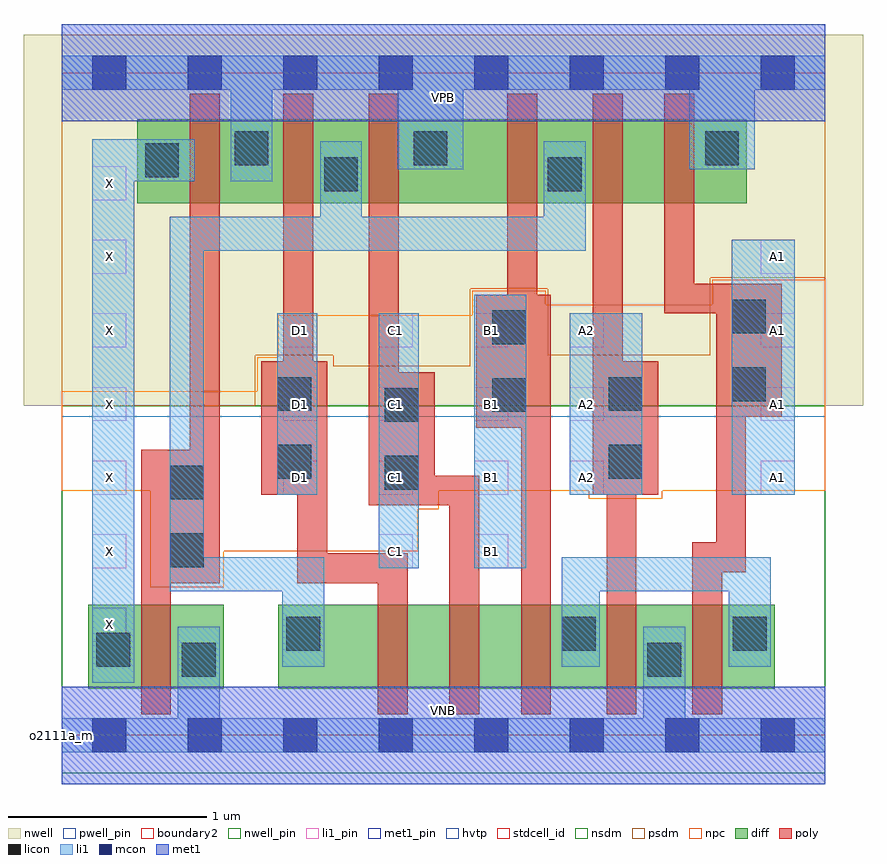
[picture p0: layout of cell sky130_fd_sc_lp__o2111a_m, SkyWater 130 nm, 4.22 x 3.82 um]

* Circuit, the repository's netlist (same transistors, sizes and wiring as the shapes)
* Copyright 2020 The SkyWater PDK Authors
*
* Licensed under the Apache License, Version 2.0 (the "License");
* you may not use this file except in compliance with the License.
* You may obtain a copy of the License at
*
*     https://www.apache.org/licenses/LICENSE-2.0
*
* Unless required by applicable law or agreed to in writing, software
* distributed under the License is distributed on an "AS IS" BASIS,
* WITHOUT WARRANTIES OR CONDITIONS OF ANY KIND, either express or implied.
* See the License for the specific language governing permissions and
* limitations under the License.
*
* SPDX-License-Identifier: Apache-2.0

.SUBCKT sky130_fd_sc_lp__o2111a_m A1 A2 B1 C1 D1 VGND VNB VPB VPWR X
*.PININFO A1:I A2:I B1:I C1:I D1:I VGND:I VNB:I VPB:I VPWR:I X:O
MMPA0 VPWR A1 sndA1 VPB sky130_fd_pr__pfet_01v8_hvt m=1 w=0.42U l=0.15U mult=1
+ sa=0.265 sb=0.265 sd=0.28 area=0.063 perim=1.14
MMPA1 sndA1 A2 y VPB sky130_fd_pr__pfet_01v8_hvt m=1 w=0.42U l=0.15U mult=1 sa=0.265
+ sb=0.265 sd=0.28 area=0.063 perim=1.14
MMPB0 VPWR B1 y VPB sky130_fd_pr__pfet_01v8_hvt m=1 w=0.42U l=0.15U mult=1 sa=0.265
+ sb=0.265 sd=0.28 area=0.063 perim=1.14
MMPC0 VPWR C1 y VPB sky130_fd_pr__pfet_01v8_hvt m=1 w=0.42U l=0.15U mult=1 sa=0.265
+ sb=0.265 sd=0.28 area=0.063 perim=1.14
MMPD0 VPWR D1 y VPB sky130_fd_pr__pfet_01v8_hvt m=1 w=0.42U l=0.15U mult=1 sa=0.265
+ sb=0.265 sd=0.28 area=0.063 perim=1.14
MMIPX X y VPWR VPB sky130_fd_pr__pfet_01v8_hvt m=1 w=0.42U l=0.15U mult=1 sa=0.265
+ sb=0.265 sd=0.28 area=0.063 perim=1.14
MMNA0 pndA A1 VGND VNB sky130_fd_pr__nfet_01v8 m=1 w=0.42U l=0.15U mult=1 sa=0.265
+ sb=0.265 sd=0.28 area=0.063 perim=1.14
MMNA1 pndA A2 VGND VNB sky130_fd_pr__nfet_01v8 m=1 w=0.42U l=0.15U mult=1 sa=0.265
+ sb=0.265 sd=0.28 area=0.063 perim=1.14
MMNB0 pndB B1 pndA VNB sky130_fd_pr__nfet_01v8 m=1 w=0.42U l=0.15U mult=1 sa=0.265
+ sb=0.265 sd=0.28 area=0.063 perim=1.14
MMNC0 pndC C1 pndB VNB sky130_fd_pr__nfet_01v8 m=1 w=0.42U l=0.15U mult=1 sa=0.265
+ sb=0.265 sd=0.28 area=0.063 perim=1.14
MMND0 y D1 pndC VNB sky130_fd_pr__nfet_01v8 m=1 w=0.42U l=0.15U mult=1 sa=0.265
+ sb=0.265 sd=0.28 area=0.063 perim=1.14
MMINX X y VGND VNB sky130_fd_pr__nfet_01v8 m=1 w=0.42U l=0.15U mult=1 sa=0.265
+ sb=0.265 sd=0.28 area=0.063 perim=1.14
.ENDS sky130_fd_sc_lp__o2111a_m

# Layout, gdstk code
import gdstk
lib = gdstk.Library(unit=1e-6, precision=1e-09)
def R(c, l, rs):  # rectangles x0, y0, x1, y1
    for r in rs: c.add(gdstk.rectangle(r[:2], r[2:], *l))
def A(c, l, x, y, w, h, nx, ny, dx, dy):  # array of equal rectangles
    R(c, l, [(x+i*dx, y+j*dy, x+i*dx+w, y+j*dy+h) for i in range(nx) for j in range(ny)])
def P(c, l, *ps):  # polygons
    for p in ps: c.add(gdstk.Polygon(p, *l))
nwell_pin = (64, 16)
nwell = (64, 20)
diff = (65, 20)
poly = (66, 20)
licon = (66, 44)
li1_pin = (67, 16)
li1 = (67, 20)
mcon = (67, 44)
met1_pin = (68, 16)
met1 = (68, 20)
hvtp = (78, 44)
stdcell_id = (81, 4)
nsdm = (93, 44)
psdm = (94, 20)
npc = (95, 20)
pwell_pin = (122, 16)
boundary2 = (236, 0)

sky130_fd_sc_lp__o2111a_ = lib.new_cell('sky130_fd_sc_lp__o2111a_m')
R(sky130_fd_sc_lp__o2111a_, nwell_pin, [(0,3.085,3.84,3.33)])
R(sky130_fd_sc_lp__o2111a_, nwell, [(-0.19,1.655,4.03,3.52)])
R(sky130_fd_sc_lp__o2111a_, diff, [(0.135,0.235,0.815,0.655), (1.09,0.235,3.585,0.655), (0.38,2.675,3.445,3.095)])
P(sky130_fd_sc_lp__o2111a_, poly, [(0.795,3.225),(0.645,3.225),(0.645,1.435),(0.4,1.435),(0.4,0.105),(0.55,0.105),(0.55,0.765),(0.795,0.765)],
  [(1.74,0.915),(1.335,0.915),(1.335,1.88),(1.265,1.88),(1.265,3.225),(1.115,3.225),(1.115,1.88),(1.005,1.88),(1.005,1.21),(1.185,1.21),(1.185,0.765),(1.59,0.765),(1.59,0.105),(1.74,0.105)],
  [(2.1,1.305),(1.875,1.305),(1.875,1.825),(1.695,1.825),(1.695,3.225),(1.545,3.225),(1.545,1.155),(1.95,1.155),(1.95,0.105),(2.1,0.105)],
  [(2.46,2.215),(2.39,2.215),(2.39,3.225),(2.24,3.225),(2.24,2.215),(2.085,2.215),(2.085,1.545),(2.31,1.545),(2.31,0.105),(2.46,0.105)],
  [(3,1.88),(2.82,1.88),(2.82,3.225),(2.67,3.225),(2.67,1.21),(2.74,1.21),(2.74,0.105),(2.89,0.105),(2.89,1.21),(3,1.21)],
  [(3.62,2.27),(3.18,2.27),(3.18,3.225),(3.03,3.225),(3.03,2.12),(3.29,2.12),(3.29,0.97),(3.17,0.97),(3.17,0.105),(3.32,0.105),(3.32,0.82),(3.44,0.82),(3.44,1.6),(3.62,1.6)])
R(sky130_fd_sc_lp__o2111a_, licon, [(0.605,0.295,0.775,0.465), (2.945,0.295,3.115,0.465), (0.175,0.345,0.345,0.515), (1.13,0.425,1.3,0.595), (2.515,0.425,2.685,0.595), (3.375,0.425,3.545,0.595), (0.545,0.845,0.715,1.015), (0.545,1.185,0.715,1.355), (1.625,1.235,1.795,1.405), (1.085,1.29,1.255,1.46), (2.75,1.29,2.92,1.46), (1.625,1.575,1.795,1.745), (2.165,1.625,2.335,1.795), (1.085,1.63,1.255,1.8), (2.75,1.63,2.92,1.8), (3.37,1.68,3.54,1.85), (2.165,1.965,2.335,2.135), (3.37,2.02,3.54,2.19), (1.32,2.735,1.49,2.905), (2.445,2.735,2.615,2.905), (0.42,2.805,0.59,2.975), (0.87,2.865,1.04,3.035), (1.77,2.865,1.94,3.035), (3.235,2.865,3.405,3.035)])
A(sky130_fd_sc_lp__o2111a_, li1_pin, 0.155, 0.47, 0.17, 0.17, 1, 7, 0, 0.37)
A(sky130_fd_sc_lp__o2111a_, li1_pin, 1.115, 1.21, 0.17, 0.17, 4, 3, 0.48, 0.37)
A(sky130_fd_sc_lp__o2111a_, li1_pin, 3.515, 1.21, 0.17, 0.17, 1, 4, 0, 0.37)
R(sky130_fd_sc_lp__o2111a_, li1_pin, [(1.595,0.84,1.765,1.01), (2.075,0.84,2.245,1.01)])
R(sky130_fd_sc_lp__o2111a_, li1, [(1.595,0.84,1.795,2.12), (2.075,0.84,2.335,2.215), (1.085,1.21,1.285,2.12), (2.555,1.21,2.92,2.12), (3.37,1.21,3.685,2.49)])
P(sky130_fd_sc_lp__o2111a_, li1, [(3.155,2.845),(3.155,3.245),(2.02,3.245),(2.02,2.845),(1.69,2.845),(1.69,3.245),(1.06,3.245),(1.06,2.785),(0.85,2.785),(0.85,3.245),(0,3.245),(0,3.415),(3.84,3.415),(3.84,3.245),(3.485,3.245),(3.485,2.845)],
  [(2.925,0.085),(2.925,0.545),(3.135,0.545),(3.135,0.085),(3.84,0.085),(3.84,-0.085),(0,-0.085),(0,0.085),(0.585,0.085),(0.585,0.545),(0.795,0.545),(0.795,0.085)],
  [(3.355,0.345),(3.355,0.725),(2.705,0.725),(2.705,0.345),(2.515,0.345),(2.515,0.895),(3.565,0.895),(3.565,0.345)],
  [(0.155,0.265),(0.155,2.995),(0.67,2.995),(0.67,2.785),(0.365,2.785),(0.365,0.265)],
  [(0.545,0.725),(0.545,2.605),(1.3,2.605),(1.3,2.985),(1.51,2.985),(1.51,2.605),(2.425,2.605),(2.425,2.985),(2.635,2.985),(2.635,2.435),(0.715,2.435),(0.715,0.895),(1.32,0.895),(1.32,0.345),(1.11,0.345),(1.11,0.725)])
A(sky130_fd_sc_lp__o2111a_, mcon, 0.155, -0.085, 0.17, 0.17, 8, 2, 0.48, 3.33)
R(sky130_fd_sc_lp__o2111a_, met1_pin, [(0,0,3.84,0.245), (0,3.085,3.84,3.33)])
R(sky130_fd_sc_lp__o2111a_, met1, [(0,-0.245,3.84,0.245), (0,3.085,3.84,3.575)])
R(sky130_fd_sc_lp__o2111a_, hvtp, [(0,1.6,3.84,3.33)])
R(sky130_fd_sc_lp__o2111a_, stdcell_id, [(0,0,3.84,3.33)])
R(sky130_fd_sc_lp__o2111a_, nsdm, [(0,-0.19,3.84,1.655)])
P(sky130_fd_sc_lp__o2111a_, psdm, [(3.84,3.52),(0,3.52),(0,1.655),(0.975,1.655),(0.975,1.91),(1.365,1.91),(1.365,1.855),(2.055,1.855),(2.055,2.245),(2.445,2.245),(2.445,1.91),(3.26,1.91),(3.26,2.3),(3.84,2.3)])
P(sky130_fd_sc_lp__o2111a_, npc, [(3.84,2.29),(3.27,2.29),(3.27,2.165),(2.435,2.165),(2.435,2.235),(2.065,2.235),(2.065,2.11),(1.09,2.11),(1.09,1.9),(0.985,1.9),(0.985,1.73),(0,1.73),(0,1.23),(0.445,1.23),(0.445,0.745),(0.815,0.745),(0.815,0.925),(1.79,0.925),(1.79,1.135),(1.895,1.135),(1.895,1.23),(2.65,1.23),(2.65,1.19),(3.02,1.19),(3.02,1.23),(3.84,1.23)])
R(sky130_fd_sc_lp__o2111a_, pwell_pin, [(0,0,3.84,0.245)])
R(sky130_fd_sc_lp__o2111a_, boundary2, [(0,0,3.84,3.33)])
sky130_fd_sc_lp__o2111a_.add(gdstk.Label('VNB', (1.92,0.123), layer=64, texttype=59))
sky130_fd_sc_lp__o2111a_.add(gdstk.Label('VPB', (1.92,3.208), layer=64, texttype=5))
sky130_fd_sc_lp__o2111a_.add(gdstk.Label('o2111a_m', (0,0), layer=83, texttype=44))
sky130_fd_sc_lp__o2111a_.add(gdstk.Label('VPWR', (1.92,3.208), layer=68, texttype=5))
sky130_fd_sc_lp__o2111a_.add(gdstk.Label('VGND', (1.92,0.123), layer=68, texttype=5))
sky130_fd_sc_lp__o2111a_.add(gdstk.Label('A2', (2.64,1.295), layer=67, texttype=5))
sky130_fd_sc_lp__o2111a_.add(gdstk.Label('A2', (2.64,1.665), layer=67, texttype=5))
sky130_fd_sc_lp__o2111a_.add(gdstk.Label('A2', (2.64,2.035), layer=67, texttype=5))
sky130_fd_sc_lp__o2111a_.add(gdstk.Label('B1', (2.16,0.925), layer=67, texttype=5))
sky130_fd_sc_lp__o2111a_.add(gdstk.Label('B1', (2.16,1.295), layer=67, texttype=5))
sky130_fd_sc_lp__o2111a_.add(gdstk.Label('B1', (2.16,1.665), layer=67, texttype=5))
sky130_fd_sc_lp__o2111a_.add(gdstk.Label('B1', (2.16,2.035), layer=67, texttype=5))
sky130_fd_sc_lp__o2111a_.add(gdstk.Label('D1', (1.2,1.295), layer=67, texttype=5))
sky130_fd_sc_lp__o2111a_.add(gdstk.Label('D1', (1.2,1.665), layer=67, texttype=5))
sky130_fd_sc_lp__o2111a_.add(gdstk.Label('D1', (1.2,2.035), layer=67, texttype=5))
sky130_fd_sc_lp__o2111a_.add(gdstk.Label('A1', (3.6,1.295), layer=67, texttype=5))
sky130_fd_sc_lp__o2111a_.add(gdstk.Label('A1', (3.6,1.665), layer=67, texttype=5))
sky130_fd_sc_lp__o2111a_.add(gdstk.Label('A1', (3.6,2.035), layer=67, texttype=5))
sky130_fd_sc_lp__o2111a_.add(gdstk.Label('A1', (3.6,2.405), layer=67, texttype=5))
sky130_fd_sc_lp__o2111a_.add(gdstk.Label('C1', (1.68,0.925), layer=67, texttype=5))
sky130_fd_sc_lp__o2111a_.add(gdstk.Label('C1', (1.68,1.295), layer=67, texttype=5))
sky130_fd_sc_lp__o2111a_.add(gdstk.Label('C1', (1.68,1.665), layer=67, texttype=5))
sky130_fd_sc_lp__o2111a_.add(gdstk.Label('C1', (1.68,2.035), layer=67, texttype=5))
sky130_fd_sc_lp__o2111a_.add(gdstk.Label('X', (0.24,0.555), layer=67, texttype=5))
sky130_fd_sc_lp__o2111a_.add(gdstk.Label('X', (0.24,0.925), layer=67, texttype=5))
sky130_fd_sc_lp__o2111a_.add(gdstk.Label('X', (0.24,1.295), layer=67, texttype=5))
sky130_fd_sc_lp__o2111a_.add(gdstk.Label('X', (0.24,1.665), layer=67, texttype=5))
sky130_fd_sc_lp__o2111a_.add(gdstk.Label('X', (0.24,2.035), layer=67, texttype=5))
sky130_fd_sc_lp__o2111a_.add(gdstk.Label('X', (0.24,2.405), layer=67, texttype=5))
sky130_fd_sc_lp__o2111a_.add(gdstk.Label('X', (0.24,2.775), layer=67, texttype=5))

lib.write_gds('sky130_fd_sc_lp__o2111a_m.gds')
